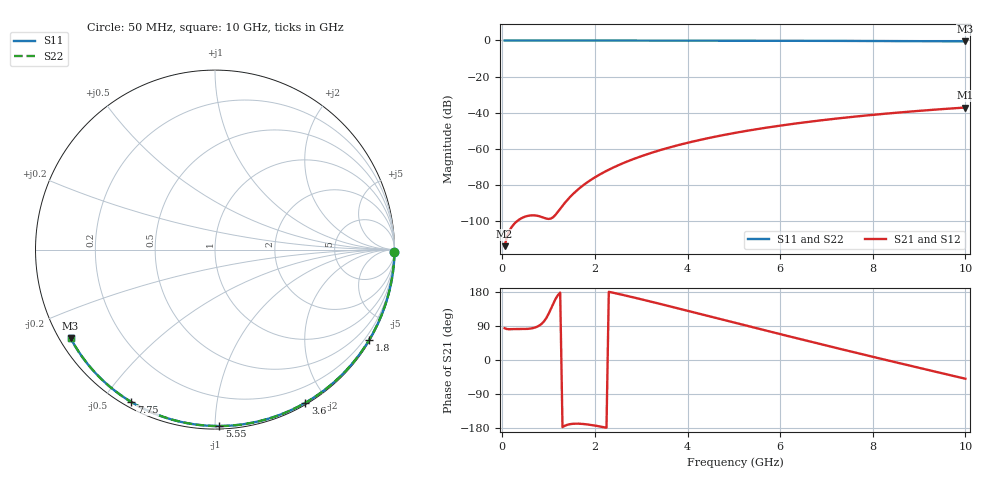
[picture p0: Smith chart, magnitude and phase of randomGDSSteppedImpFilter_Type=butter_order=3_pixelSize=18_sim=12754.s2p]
! freq	dB(S11)	phase(S11)	dB(S12)	phase(S12)
!  dB(S21)	phase(S21)	dB(S22)	phase(S22)
!S-par simulation data
#  GHz  S  DB  R 50
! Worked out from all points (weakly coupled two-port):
!   200 points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, 50 MHz to 10 GHz, reference 50 ohm
!   highest |S21| = -37.18 dB at 10 GHz (marker M1); lowest = -114.1 dB at 50 MHz (marker M2)
!   lowest |S11| = -0.5 dB at 10 GHz (marker M3), VSWR 34.58, Z = 1.56 - j14.1 ohm
!   |S11| at or under -10 dB: nowhere
!   |S22| runs from -0.5 to 0.0 dB; largest |S21 - S12| = 0
!   S11 on the Smith chart (normalised r, x): 50 MHz: open; 1.8 GHz: 0.03, -3.67; 3.6 GHz: 0.02, -1.75; 5.55 GHz: 0.02, -1.02; 7.75 GHz: 0.02, -0.59; 10 GHz: 0.03, -0.28
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0.05  -0.00 -0.9  -114.06 83.8  -114.06 83.8  -0.00 -0.9
0.45  -0.01 -7.8  -98.12 81.6  -98.12 81.6  -0.01 -7.8
0.9  -0.02 -15.4  -98.32 101.9  -98.32 101.9  -0.02 -15.4
1.3  -0.03 -22.2  -91.69 -177.1  -91.69 -177.1  -0.03 -22.2
1.75  -0.04 -29.7  -80.25 -168.9  -80.25 -168.9  -0.04 -29.7
1.8  -0.04 -30.5  -79.30 -169.5  -79.30 -169.5  -0.04 -30.5
1.95  -0.04 -33.0  -76.69 -172.1  -76.69 -172.1  -0.04 -33.0
2.1  -0.05 -35.5  -74.39 -175.2  -74.39 -175.2  -0.05 -35.5
2.3  -0.05 -38.8  -71.66 179.9  -71.66 179.9  -0.05 -38.8
2.5  -0.05 -42.0  -69.25 174.6  -69.25 174.6  -0.05 -42.0
2.9  -0.06 -48.5  -65.11 163.2  -65.11 163.2  -0.06 -48.5
3.4  -0.08 -56.4  -60.88 148.3  -60.88 148.3  -0.08 -56.4
3.6  -0.08 -59.5  -59.41 142.2  -59.41 142.2  -0.08 -59.5
4.3  -0.10 -70.2  -54.97 120.6  -54.97 120.6  -0.10 -70.2
5.05  -0.13 -81.4  -51.14 97.5  -51.14 97.5  -0.13 -81.4
5.55  -0.15 -88.6  -48.97 82.1  -48.97 82.1  -0.15 -88.6
6.1  -0.17 -96.4  -46.87 65.3  -46.87 65.3  -0.17 -96.4
6.7  -0.20 -104.7  -44.85 47.1  -44.85 47.1  -0.20 -104.7
7.75  -0.28 -118.8  -41.88 15.8  -41.88 15.8  -0.28 -118.8
8.35  -0.33 -126.8  -40.43 -1.8  -40.43 -1.8  -0.33 -126.8
9.2  -0.41 -138.0  -38.63 -26.5  -38.63 -26.5  -0.41 -138.0
10  -0.50 -148.5  -37.18 -49.4  -37.18 -49.4  -0.50 -148.5
